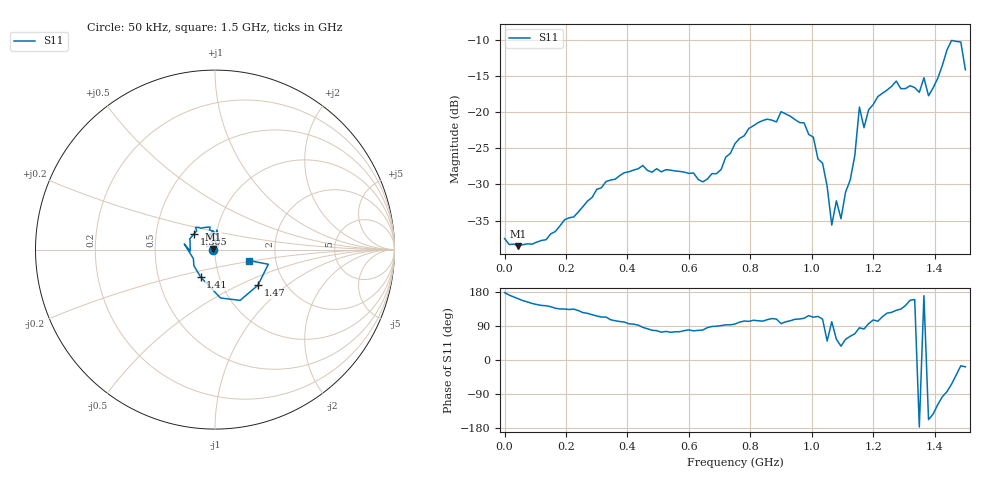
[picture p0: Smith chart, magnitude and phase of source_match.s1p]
! Created with skrf 1.8.0 (http://scikit-rf.org).
# Hz S RI R 50.0
!freq ReS11 ImS11
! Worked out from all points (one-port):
!   101 points, 50 kHz to 1.5 GHz, reference 50 ohm
!   lowest |S11| = -38.6 dB at 45.05 MHz (marker M1), VSWR 1.02, Z = 48.9 + j0.369 ohm
!   |S11| at or under -10 dB: start of sweep to end of sweep
!   S11 on the Smith chart (normalised r, x): 50 kHz: 0.97, +0.00; 1.305 GHz: 0.78, +0.14; 1.41 GHz: 0.82, -0.26; 1.47 GHz: 1.46, -0.64; 1.5 GHz: 1.45, -0.18
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50000  -0.0133 0.000524
4.50485e7  -0.0112 0.00377
1.950435e8  -0.0126 0.0128
3.750375e8  -0.00728 0.0357
5.70031e8  0.0103 0.0376
6.450285e8  0.00622 0.0324
7.50025e8  -0.00526 0.0605
9.0002e8  -0.0106 0.1006
9.450185e8  -0.0269 0.0852
1.035016e9  -0.0137 0.0423
1.065014e9  -0.00317 0.0162
1.080014e9  0.014 0.0199
1.095014e9  0.0147 0.0109
1.125012e9  0.0157 0.0301
1.140012e9  0.0178 0.0469
1.155012e9  0.0094 0.1083
1.170011e9  0.0112 0.0776
1.21501e9  -0.0276 0.1257
1.305006e9  -0.118 0.0865
1.320006e9  -0.1416 0.0586
1.350005e9  -0.1376 -0.0078
1.365004e9  -0.1711 0.0309
1.380004e9  -0.1203 -0.0505
1.410003e9  -0.0801 -0.1527
1.455002e9  0.1398 -0.2829
1.470001e9  0.239 -0.1987
1.485e9  0.2971 -0.0816
1.5e9  0.1878 -0.0609
